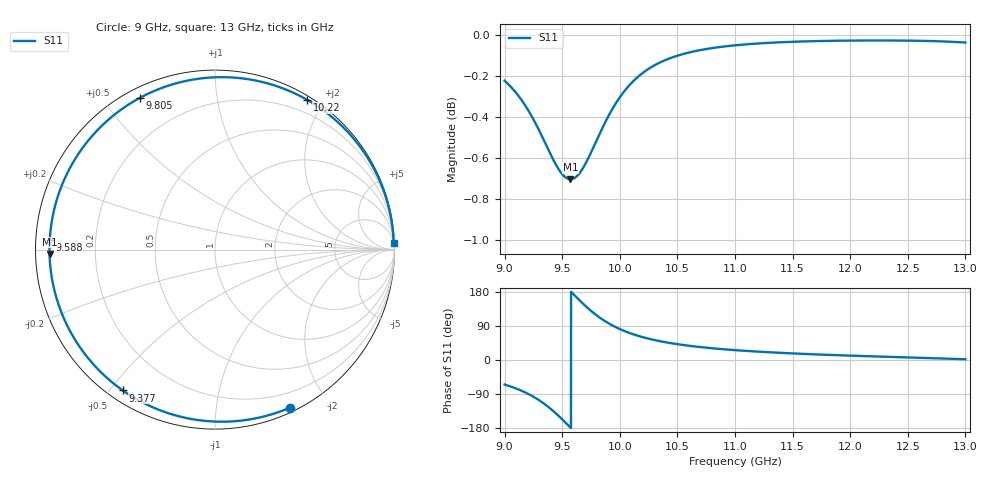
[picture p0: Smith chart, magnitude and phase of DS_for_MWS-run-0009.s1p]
! TOUCHSTONE file generated by CST DESIGN STUDIO
! Date and time: Tue Feb  4 12:46:57 2025
! Project name: C:\Work\MatlabApps\UnitCellOptimizationMatlab\CST\unitcell.cst
! Tree item: Tasks\Sweep1\SPara1\S-Parameters
! Header version: 2024
! Port assignment regex: !\s*Touchstone port\s*([0-9]+)\s*=\s*(CST MWS port|CST DES external port|CST DES block port)\s*(.+)\s* \(\"(.*)\"\)(\s*mode\s*([0-9]+))?.*
! Touchstone port assignment:
! Touchstone port 1 = CST DES external port 1 ("")
# GHz S MA R 50
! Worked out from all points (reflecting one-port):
!   4001 points, 9 GHz to 13 GHz, reference 50 ohm
!   lowest |S11| = -0.7 dB at 9.572 GHz (marker M1), VSWR 24.71, Z = 2.02 - j0.656 ohm
!   phase of S11 starts at -65 deg and turns -293 deg over the sweep
!   S11 on the Smith chart (normalised r, x): 9 GHz: 0.04, -1.58; 9.377 GHz: 0.04, -0.54; 9.588 GHz: 0.04, +0.03; 9.805 GHz: 0.04, +0.62; 10.22 GHz: 0.04, +1.79; 13 GHz: 7, +55
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9  0.9745 -64.8
9.045  0.9718 -69.2
9.112  0.967 -76.7
9.228  0.9561 -93.2
9.307  0.9469 -107.7
9.377  0.938 -123.2
9.437  0.9307 -138.6
9.5  0.9249 -156.5
9.537  0.9229 -167.7
9.572  0.9222 -178.5
9.588  0.9224 176.5
9.643  0.9248 159.7
9.704  0.9305 142.0
9.754  0.9366 128.7
9.805  0.9433 116.4
9.847  0.9488 107.4
9.893  0.9545 98.5
10  0.9655 81.6
10.105  0.9735 69.1
10.222  0.9798 58.4
10.35  0.9846 49.6
10.5  0.9883 41.8
10.72  0.9916 33.4
11  0.994 26.0
11.5  0.996 17.4
12  0.9966 11.5
12.5  0.9966 6.8
13  0.9955 2.1
